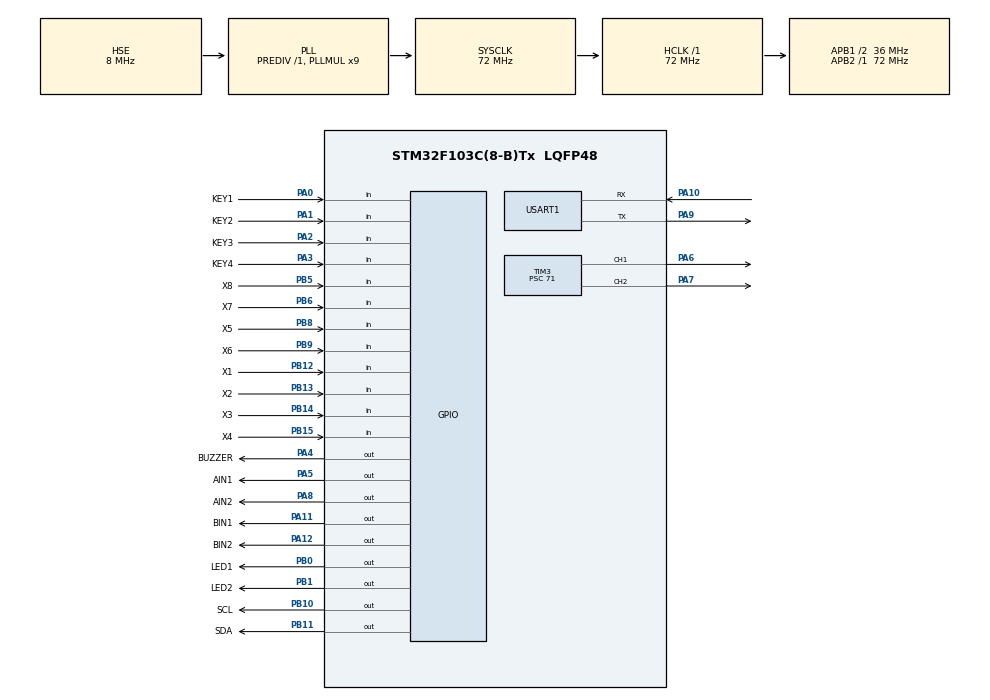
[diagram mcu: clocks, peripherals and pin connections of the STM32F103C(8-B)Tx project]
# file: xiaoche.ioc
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Mcu.Family=STM32F1
Mcu.Name=STM32F103C(8-B)Tx
Mcu.Package=LQFP48
NVIC.PriorityGroup=NVIC_PRIORITYGROUP_4
PA0-WKUP.GPIO_Label=KEY1
PA0-WKUP.GPIO_PuPd=GPIO_PULLUP
PA0-WKUP.Signal=GPIO_Input
PA1.GPIO_Label=KEY2
PA1.GPIO_PuPd=GPIO_PULLUP
PA1.Signal=GPIO_Input
PA10.Mode=Asynchronous
PA10.Signal=USART1_RX
PA11.GPIO_Label=BIN1
PA11.GPIO_ModeDefaultOutputPP=GPIO_MODE_OUTPUT_PP
PA11.GPIO_Speed=GPIO_SPEED_FREQ_LOW
PA11.PinState=GPIO_PIN_RESET
PA11.Signal=GPIO_Output
PA12.GPIO_Label=BIN2
PA12.GPIO_ModeDefaultOutputPP=GPIO_MODE_OUTPUT_PP
PA12.GPIO_Speed=GPIO_SPEED_FREQ_LOW
PA12.PinState=GPIO_PIN_RESET
PA12.Signal=GPIO_Output
PA2.GPIO_Label=KEY3
PA2.GPIO_PuPd=GPIO_PULLUP
PA2.Signal=GPIO_Input
PA3.GPIO_Label=KEY4
PA3.GPIO_PuPd=GPIO_PULLUP
PA3.Signal=GPIO_Input
PA4.GPIO_Label=BUZZER
PA4.GPIO_ModeDefaultOutputPP=GPIO_MODE_OUTPUT_PP
PA4.GPIO_Speed=GPIO_SPEED_FREQ_LOW
PA4.PinState=GPIO_PIN_RESET
PA4.Signal=GPIO_Output
PA5.GPIO_Label=AIN1
PA5.GPIO_ModeDefaultOutputPP=GPIO_MODE_OUTPUT_PP
PA5.GPIO_Speed=GPIO_SPEED_FREQ_LOW
PA5.PinState=GPIO_PIN_RESET
PA5.Signal=GPIO_Output
PA6.Signal=S_TIM3_CH1
PA7.Signal=S_TIM3_CH2
PA8.GPIO_Label=AIN2
PA8.GPIO_ModeDefaultOutputPP=GPIO_MODE_OUTPUT_PP
PA8.GPIO_Speed=GPIO_SPEED_FREQ_LOW
PA8.PinState=GPIO_PIN_RESET
PA8.Signal=GPIO_Output
PA9.Mode=Asynchronous
PA9.Signal=USART1_TX
PB0.GPIO_Label=LED1
PB0.GPIO_ModeDefaultOutputPP=GPIO_MODE_OUTPUT_PP
PB0.GPIO_Speed=GPIO_SPEED_FREQ_LOW
PB0.PinState=GPIO_PIN_RESET
PB0.Signal=GPIO_Output
PB1.GPIO_Label=LED2
PB1.GPIO_ModeDefaultOutputPP=GPIO_MODE_OUTPUT_PP
PB1.GPIO_Speed=GPIO_SPEED_FREQ_LOW
PB1.PinState=GPIO_PIN_RESET
PB1.Signal=GPIO_Output
PB10.GPIO_Label=SCL
PB10.GPIO_ModeDefaultOutputPP=GPIO_MODE_OUTPUT_PP
PB10.GPIO_Speed=GPIO_SPEED_FREQ_LOW
PB10.PinState=GPIO_PIN_SET
PB10.Signal=GPIO_Output
PB11.GPIO_Label=SDA
PB11.GPIO_ModeDefaultOutputPP=GPIO_MODE_OUTPUT_PP
PB11.GPIO_Speed=GPIO_SPEED_FREQ_LOW
PB11.PinState=GPIO_PIN_SET
PB11.Signal=GPIO_Output
PB12.GPIO_Label=X1
PB12.Signal=GPIO_Input
PB13.GPIO_Label=X2
PB13.Signal=GPIO_Input
PB14.GPIO_Label=X3
PB14.Signal=GPIO_Input
PB15.GPIO_Label=X4
PB15.Signal=GPIO_Input
PB5.GPIO_Label=X8
PB5.Signal=GPIO_Input
PB6.GPIO_Label=X7
PB6.Signal=GPIO_Input
PB8.GPIO_Label=X5
PB8.Signal=GPIO_Input
PB9.GPIO_Label=X6
PB9.Signal=GPIO_Input
PD0-OSC_IN.Mode=HSE-External-Oscillator
PD0-OSC_IN.Signal=RCC_OSC_IN
PD1-OSC_OUT.Mode=HSE-External-Oscillator
PD1-OSC_OUT.Signal=RCC_OSC_OUT
ProjectManager.HeapSize=0x200
ProjectManager.StackSize=0x400
ProjectManager.TargetToolchain=MDK-ARM V5.32
RCC.AHBFreq_Value=72000000
RCC.APB1CLKDivider=RCC_HCLK_DIV2
RCC.APB1Freq_Value=36000000
RCC.APB1TimFreq_Value=72000000
RCC.APB2CLKDivider=RCC_HCLK_DIV1
RCC.APB2Freq_Value=72000000
RCC.APB2TimFreq_Value=72000000
RCC.HCLKFreq_Value=72000000
RCC.HSEDivPLL=RCC_HSE_PREDIV_DIV1
RCC.HSE_VALUE=8000000
RCC.PLLMUL=RCC_PLL_MUL9
RCC.PLLSourceVirtual=RCC_PLLSOURCE_HSE
RCC.SYSCLKFreq_VALUE=72000000
RCC.SYSCLKSource=RCC_SYSCLKSOURCE_PLLCLK
RCC.USBFreq_Value=72000000
SH.S_TIM3_CH1.0=TIM3_CH1,PWM Generation1 CH1
SH.S_TIM3_CH2.0=TIM3_CH2,PWM Generation2 CH2
TIM3.Channel-PWM\ Generation1\ CH1=TIM_CHANNEL_1
TIM3.Channel-PWM\ Generation2\ CH2=TIM_CHANNEL_2
TIM3.Period=999
TIM3.Prescaler=71
USART1.VirtualMode=VM_ASYNC
VP_TIM3_VS_ClockSourceINT.Mode=Internal
board=custom

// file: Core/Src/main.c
/* USER CODE BEGIN Header */
/**
  ******************************************************************************
  * @file           : main.c
  * @brief          : Main program body
  ******************************************************************************
  * @attention
  *
  * Copyright (c) 2026 STMicroelectronics.
  * All rights reserved.
  *
  * This software is licensed under terms that can be found in the LICENSE file
  * in the root directory of this software component.
  * If no LICENSE file comes with this software, it is provided AS-IS.
  *
  ******************************************************************************
  */
/* USER CODE END Header */
#include "main.h"
#include "tim.h"
#include "usart.h"
#include "gpio.h"

/* USER CODE BEGIN Includes */
#include "oled.h"
#include <string.h>
/* USER CODE END Includes */

/* USER CODE BEGIN PV */
int a = 0;
int menu = 0;
int arrow = 0;
int led_mode = 0;
int led_on = 0;
unsigned int led_tick = 0;
char rxbuf[20];
int rxlen = 0;
int x[8];
int pian_cha = 0;
int shang_ci = 0;
int zhi_dao = 0;
int zhi_xing_ms = 0;
int huan_zuo_ms = 0;
int guo_du_ms = 0;
int diu_cnt = 0;
int bai_cnt = 0;
int fang_xiang = 0;
int zhong_lu = 0;
unsigned int huan_leng = 0;
int pao = 0;
unsigned int kai_shi = 0;
unsigned int shang_ci_fa = 0;
unsigned int shang_ci_shua = 0;
unsigned int shang_ci_kong = 0;
int tiaoshi = 1;
/* USER CODE END PV */

void SystemClock_Config(void);
/* USER CODE BEGIN PFP */
void SystemClock_Config(void);
int AnJian_Duqu(void);
void AnJian_Chuli(void);
void Zhucaidan_AnJian(int k);
void JianTou_Shang(void);
void JianTou_Xia(void);
void Jinru_Caidan(void);
void LED_AnJian(int k);
void LED_KaiGuan(void);
void Xianshi_Zhucaidan(void);
void Xianshi_LED(void);
void Xianshi_LEDZhuangtai(void);
void Xianshi_Xinxi(void);
void Xianshi_Tuozhan(void);
void LED_QuanLiang(void);
void LED_QuanMie(void);
void LED_Shanshuo(void);
void ChuanKou_Chuli(void);
void ChuanKou_Panduan(void);
void FaSong(char *s);
void FaSongShu(int n);
void FanZhuan_Fasong(char *s, int len, int f);
int ZhuanShuzi(char *s);
void Chuanganqi_Duqu(void);
int Piancha_Jisuan(void);
void Dianji_Zuo(int v);
void Dianji_You(int v);
void Dianji_Ting(void);
int QuanBai(void);
int YaLu_LuShu(void);
int Duanlu_Chuli(void);
int ZhiXing_Pao(void);
int Liubian_Chuli(void);
int Zhuanliang_Jisuan(int e);
int GuoDu_XianZhi(int zhuan);
int Sudu_Jisuan(int e);
void Jiquan_Chuli(void);
void Jilu_ZhongLu(void)
{
  if (YaLu_LuShu() == 0) { return; }
  if (x[2] == 1 || x[3] == 1 || x[4] == 1 || x[5] == 1) { zhong_lu = 1; }
  else { zhong_lu = 0; }
}

void DiuXian_Chuli(void)
{
  if (zhi_xing_ms > 0)
  {
    diu_cnt = 0;
    return;
  }
  if (QuanBai() == 1) { diu_cnt = diu_cnt + 1; }
  else { diu_cnt = 0; }
  if (diu_cnt > 100)
  {
    pao = 0;
    Dianji_Ting();
  }
}

void Jilu_ZhongLu(void);
void DiuXian_Chuli(void);
void Xunji_Run(void);
void Fengming(int ms);
void Xianshi_Chuanganqi(void);
void Xianshi_Xunji(void);
void Xianshi_Shuju(void);
void Tiaoshi_Fasong(void);
void Xunji_AnJian(int k);
/* USER CODE END PFP */

int main(void)
{

  /* MCU Configuration--------------------------------------------------------*/

  /* Reset of all peripherals, Initializes the Flash interface and the Systick. */
  HAL_Init();

  /* Configure the system clock */
  SystemClock_Config();

  /* Initialize all configured peripherals */
  MX_GPIO_Init();
  MX_TIM3_Init();
  MX_USART1_UART_Init();
  /* USER CODE BEGIN 2 */
  LED_QuanMie();
  HAL_GPIO_WritePin(GPIOA, GPIO_PIN_4, GPIO_PIN_RESET);
  HAL_TIM_PWM_Start(&htim3, TIM_CHANNEL_1);
  HAL_TIM_PWM_Start(&htim3, TIM_CHANNEL_2);
  Dianji_Ting();
  OLED_Init();
  kai_shi = HAL_GetTick();
  OLED_Clear();
  Xianshi_Zhucaidan();
  /* USER CODE END 2 */

  /* Infinite loop */
  while (1)
  {

    /* USER CODE BEGIN 3 */
    Chuanganqi_Duqu();
    ChuanKou_Chuli();
    AnJian_Chuli();
    LED_Shanshuo();
    if (pao == 1)
    {
      if (HAL_GetTick() - shang_ci_kong >= 10)
      {
        shang_ci_kong = HAL_GetTick();
        Xunji_Run();
      }
    }
    if (menu == 3 && pao == 0)
    {
      Xianshi_Shuju();
    }
    Tiaoshi_Fasong();
  }
  /* USER CODE END 3 */
}

void SystemClock_Config(void)
{
  RCC_OscInitTypeDef RCC_OscInitStruct = {0};
  RCC_ClkInitTypeDef RCC_ClkInitStruct = {0};

  /** Initializes the RCC Oscillators according to the specified parameters
  * in the RCC_OscInitTypeDef structure.
  */
  RCC_OscInitStruct.OscillatorType = RCC_OSCILLATORTYPE_HSE;
  RCC_OscInitStruct.HSEState = RCC_HSE_ON;
  RCC_OscInitStruct.HSEPredivValue = RCC_HSE_PREDIV_DIV1;
  RCC_OscInitStruct.HSIState = RCC_HSI_ON;
  RCC_OscInitStruct.PLL.PLLState = RCC_PLL_ON;
  RCC_OscInitStruct.PLL.PLLSource = RCC_PLLSOURCE_HSE;
  RCC_OscInitStruct.PLL.PLLMUL = RCC_PLL_MUL9;
  if (HAL_RCC_OscConfig(&RCC_OscInitStruct) != HAL_OK)
  {
    Error_Handler();
  }

  /** Initializes the CPU, AHB and APB buses clocks
  */
  RCC_ClkInitStruct.ClockType = RCC_CLOCKTYPE_HCLK|RCC_CLOCKTYPE_SYSCLK
                              |RCC_CLOCKTYPE_PCLK1|RCC_CLOCKTYPE_PCLK2;
  RCC_ClkInitStruct.SYSCLKSource = RCC_SYSCLKSOURCE_PLLCLK;
  RCC_ClkInitStruct.AHBCLKDivider = RCC_SYSCLK_DIV1;
  RCC_ClkInitStruct.APB1CLKDivider = RCC_HCLK_DIV2;
  RCC_ClkInitStruct.APB2CLKDivider = RCC_HCLK_DIV1;

  if (HAL_RCC_ClockConfig(&RCC_ClkInitStruct, FLASH_LATENCY_2) != HAL_OK)
  {
    Error_Handler();
  }
}

/* USER CODE BEGIN 4 */
int AnJian_Duqu(void)
{
  if (HAL_GPIO_ReadPin(GPIOA, GPIO_PIN_0) == 0) { HAL_Delay(20); while (HAL_GPIO_ReadPin(GPIOA, GPIO_PIN_0) == 0) { } return 1; }
  if (HAL_GPIO_ReadPin(GPIOA, GPIO_PIN_1) == 0) { HAL_Delay(20); while (HAL_GPIO_ReadPin(GPIOA, GPIO_PIN_1) == 0) { } return 2; }
  if (HAL_GPIO_ReadPin(GPIOA, GPIO_PIN_2) == 0) { HAL_Delay(20); while (HAL_GPIO_ReadPin(GPIOA, GPIO_PIN_2) == 0) { } return 3; }
  if (HAL_GPIO_ReadPin(GPIOA, GPIO_PIN_3) == 0) { HAL_Delay(20); while (HAL_GPIO_ReadPin(GPIOA, GPIO_PIN_3) == 0) { } return 4; }
  return 0;
}

void AnJian_Chuli(void)
{
  int k = AnJian_Duqu();

  if (k == 0) { return; }
  if (menu == 0) { Zhucaidan_AnJian(k); return; }
  if (menu == 1) { LED_AnJian(k); return; }
  if (menu == 3) { Xunji_AnJian(k); return; }
  if (k == 4)
  {
    menu = 0;
    Xianshi_Zhucaidan();
  }
}

void Zhucaidan_AnJian(int k)
{
  if (k == 1)
  {
    JianTou_Shang();
  }
  if (k == 2)
  {
    JianTou_Xia();
  }
  if (k == 3)
  {
    Jinru_Caidan();
  }
}

void JianTou_Shang(void)
{
  arrow = arrow - 1;
  if (arrow < 0)
  {
    arrow = 3;
  }
  Xianshi_Zhucaidan();
}

void JianTou_Xia(void)
{
  arrow = arrow + 1;
  if (arrow > 3)
  {
    arrow = 0;
  }
  Xianshi_Zhucaidan();
}

void Jinru_Caidan(void)
{
  if (arrow == 0) { menu = 1; Xianshi_LED(); }
  if (arrow == 1) { menu = 2; Xianshi_Xinxi(); }
  if (arrow == 2) { menu = 3; Xianshi_Xunji(); }
  if (arrow == 3) { menu = 4; Xianshi_Tuozhan(); }
}

void LED_AnJian(int k)
{
  if (k == 1)
  {
    LED_KaiGuan();
  }
  if (k == 2)
  {
    led_mode = 2;
    led_tick = HAL_GetTick();
    Xianshi_LED();
  }
  if (k == 4)
  {
    led_mode = 0;
    LED_QuanMie();
    menu = 0;
    Xianshi_Zhucaidan();
  }
}

void LED_KaiGuan(void)
{
  if (led_mode == 1)
  {
    led_mode = 0;
    LED_QuanMie();
  }
  else
  {
    led_mode = 1;
    LED_QuanLiang();
  }
  Xianshi_LED();
}

void LED_QuanLiang(void)
{
  HAL_GPIO_WritePin(GPIOB, GPIO_PIN_0, GPIO_PIN_SET);
  HAL_GPIO_WritePin(GPIOB, GPIO_PIN_1, GPIO_PIN_SET);
}

void LED_QuanMie(void)
{
  HAL_GPIO_WritePin(GPIOB, GPIO_PIN_0, GPIO_PIN_RESET);
  HAL_GPIO_WritePin(GPIOB, GPIO_PIN_1, GPIO_PIN_RESET);
}

void LED_Shanshuo(void)
{
  if (led_mode != 2) { return; }
  if (HAL_GetTick() - led_tick < 500) { return; }
  led_tick = HAL_GetTick();
  led_on = !led_on;
  if (led_on)
  {
    HAL_GPIO_WritePin(GPIOB, GPIO_PIN_0, GPIO_PIN_SET);
    HAL_GPIO_WritePin(GPIOB, GPIO_PIN_1, GPIO_PIN_RESET);
  }
  else
  {
    HAL_GPIO_WritePin(GPIOB, GPIO_PIN_0, GPIO_PIN_RESET);
    HAL_GPIO_WritePin(GPIOB, GPIO_PIN_1, GPIO_PIN_SET);
  }
  if (menu == 1)
  {
    Xianshi_LEDZhuangtai();
  }
}

void Xianshi_Zhucaidan(void)
{
  OLED_Clear();
  if (arrow == 0) { OLED_ShowChar(20, 0, '>'); }
  if (arrow == 1) { OLED_ShowChar(20, 2, '>'); }
  if (arrow == 2) { OLED_ShowChar(20, 4, '>'); }
  if (arrow == 3) { OLED_ShowChar(20, 6, '>'); }
  OLED_ShowString(40, 0, "LED");
  OLED_ShowString(40, 2, "XINXI");
  OLED_ShowString(40, 4, "XUNJI");
  OLED_ShowString(40, 6, "TUOZHAN");
}

void Xianshi_LEDZhuangtai(void)
{
  if (led_on)
  {
    OLED_ShowString(8, 2, "LED1: ON ");
    OLED_ShowString(8, 4, "LED2: OFF");
  }
  else
  {
    OLED_ShowString(8, 2, "LED1: OFF");
    OLED_ShowString(8, 4, "LED2: ON ");
  }
}

void Xianshi_LED(void)
{
  OLED_Clear();
  if (led_mode == 0) { OLED_ShowString(8, 0, "MODE: OFF"); }
  if (led_mode == 1) { OLED_ShowString(8, 0, "MODE: ON "); }
  if (led_mode == 2) { OLED_ShowString(8, 0, "MODE: FLASH"); }
  if (led_mode == 0)
  {
    OLED_ShowString(8, 2, "LED1: OFF");
    OLED_ShowString(8, 4, "LED2: OFF");
  }
  if (led_mode == 1)
  {
    OLED_ShowString(8, 2, "LED1: ON ");
    OLED_ShowString(8, 4, "LED2: ON ");
  }
  if (led_mode == 2)
  {
    Xianshi_LEDZhuangtai();
  }
  OLED_ShowString(8, 6, "K1:ON K2:FLASH");
}

void Xianshi_Xinxi(void)
{
  OLED_Clear();
  OLED_ShowString(8, 0, "NAME: FENG AO");
  OLED_ShowString(16, 2, "ID: 32602156");
  OLED_ShowString(20, 4, "A = ");
  OLED_ShowNum(52, 4, a, 4, 16);
  OLED_ShowString(32, 6, "K4: BACK");
}

void Xianshi_Tuozhan(void)
{
  OLED_Clear();
  OLED_ShowString(36, 0, "TUOZHAN");
  OLED_ShowString(20, 2, "COMING SOON");
  OLED_ShowString(32, 6, "K4: BACK");
}

void ChuanKou_Chuli(void)
{
  char c;

  if (HAL_UART_Receive(&huart1, (uint8_t *)&c, 1, 0) != HAL_OK)
  {
    return;
  }
  if (c == '\r' || c == '\n')
  {
    if (rxlen > 0)
    {
      rxbuf[rxlen] = 0;
      ChuanKou_Panduan();
      rxlen = 0;
    }
    return;
  }
  if (rxlen < 19)
  {
    rxbuf[rxlen] = c;
    rxlen = rxlen + 1;
  }
}

void ChuanKou_Panduan(void)
{
  if (strcmp(rxbuf, "GET A") == 0)
  {
    FaSongShu(a);
    return;
  }
  a = ZhuanShuzi(rxbuf);
  if (menu == 2)
  {
    Xianshi_Xinxi();
  }
}

void FaSong(char *s)
{
  HAL_UART_Transmit(&huart1, (uint8_t *)s, strlen(s), 50);
}

void FaSongShu(int n)
{
  char s[12];
  int i = 0;
  int f = 0;

  if (n < 0)
  {
    f = 1;
    n = -n;
  }
  if (n == 0)
  {
    s[i] = '0';
    i = i + 1;
  }
  while (n > 0)
  {
    s[i] = '0' + n % 10;
    i = i + 1;
    n = n / 10;
  }
  FanZhuan_Fasong(s, i, f);
}

void FanZhuan_Fasong(char *s, int len, int f)
{
  char out[14];
  int j = 0;

  if (f == 1)
  {
    out[j] = '-';
    j = j + 1;
  }
  while (len > 0)
  {
    len = len - 1;
    out[j] = s[len];
    j = j + 1;
  }
  out[j] = '\r';
  out[j + 1] = '\n';
  out[j + 2] = 0;
  FaSong(out);
}

int ZhuanShuzi(char *s)
{
  int i = 0;
  int f = 1;
  int n = 0;

  if (s[0] == '-')
  {
    f = -1;
    i = 1;
  }
  while (s[i] >= '0' && s[i] <= '9')
  {
    n = n * 10 + (s[i] - '0');
    i = i + 1;
  }
  return n * f;
}

void Chuanganqi_Duqu(void)
{
  if (HAL_GPIO_ReadPin(GPIOB, GPIO_PIN_12) == 0) { x[0] = 1; } else { x[0] = 0; }
  if (HAL_GPIO_ReadPin(GPIOB, GPIO_PIN_13) == 0) { x[1] = 1; } else { x[1] = 0; }
  if (HAL_GPIO_ReadPin(GPIOB, GPIO_PIN_14) == 0) { x[2] = 1; } else { x[2] = 0; }
  if (HAL_GPIO_ReadPin(GPIOB, GPIO_PIN_15) == 0) { x[3] = 1; } else { x[3] = 0; }
  if (HAL_GPIO_ReadPin(GPIOB, GPIO_PIN_8) == 0) { x[4] = 1; } else { x[4] = 0; }
  if (HAL_GPIO_ReadPin(GPIOB, GPIO_PIN_9) == 0) { x[5] = 1; } else { x[5] = 0; }
  if (HAL_GPIO_ReadPin(GPIOB, GPIO_PIN_6) == 0) { x[6] = 1; } else { x[6] = 0; }
  if (HAL_GPIO_ReadPin(GPIOB, GPIO_PIN_5) == 0) { x[7] = 1; } else { x[7] = 0; }
}

int Piancha_Jisuan(void)
{
  int i;
  int n = 0;
  int he = 0;

  for (i = 0; i < 8; i++)
  {
    if (x[i] == 1)
    {
      he = he + (i * 2 - 7);
      n = n + 1;
    }
  }
  if (n == 0)
  {
    if (fang_xiang > 0) { return 700; }
    if (fang_xiang < 0) { return -700; }
    return pian_cha;
  }
  pian_cha = he * 100 / n;
  if (pian_cha > 300) { fang_xiang = 1; }
  if (pian_cha < -300) { fang_xiang = -1; }
  return pian_cha;
}

void Dianji_Zuo(int v)
{
  if (v >= 0)
  {
    HAL_GPIO_WritePin(GPIOA, GPIO_PIN_5, GPIO_PIN_SET);
    HAL_GPIO_WritePin(GPIOA, GPIO_PIN_8, GPIO_PIN_RESET);
  }
  else
  {
    HAL_GPIO_WritePin(GPIOA, GPIO_PIN_5, GPIO_PIN_RESET);
    HAL_GPIO_WritePin(GPIOA, GPIO_PIN_8, GPIO_PIN_SET);
  }
  if (v < 0) { v = -v; }
  if (v > 999) { v = 999; }
  __HAL_TIM_SET_COMPARE(&htim3, TIM_CHANNEL_1, v);
}

void Dianji_You(int v)
{
  if (v >= 0)
  {
    HAL_GPIO_WritePin(GPIOA, GPIO_PIN_11, GPIO_PIN_SET);
    HAL_GPIO_WritePin(GPIOA, GPIO_PIN_12, GPIO_PIN_RESET);
  }
  else
  {
    HAL_GPIO_WritePin(GPIOA, GPIO_PIN_11, GPIO_PIN_RESET);
    HAL_GPIO_WritePin(GPIOA, GPIO_PIN_12, GPIO_PIN_SET);
  }
  if (v < 0) { v = -v; }
  if (v > 999) { v = 999; }
  __HAL_TIM_SET_COMPARE(&htim3, TIM_CHANNEL_2, v);
}

void Dianji_Ting(void)
{
  Dianji_Zuo(0);
  Dianji_You(0);
}

int QuanBai(void)
{
  int i;

  for (i = 0; i < 8; i++)
  {
    if (x[i] == 1) { return 0; }
  }
  return 1;
}

int YaLu_LuShu(void)
{
  int i;
  int n = 0;

  for (i = 0; i < 8; i++)
  {
    if (x[i] == 1) { n = n + 1; }
  }
  return n;
}

int Duanlu_Chuli(void)
{
  if (zhi_xing_ms > 0) { return ZhiXing_Pao(); }
  if (QuanBai() == 1) { bai_cnt = bai_cnt + 1; }
  else { bai_cnt = 0; }
  if (bai_cnt >= 2 && zhi_dao > 30 && zhong_lu == 1)
  {
    zhi_xing_ms = 1500;
  }
  return 0;
}

int ZhiXing_Pao(void)
{
  if (QuanBai() == 0)
  {
    zhi_xing_ms = 0;
    guo_du_ms = 250;
    return 0;
  }
  zhi_xing_ms = zhi_xing_ms - 10;
  if (zhi_xing_ms <= 0)
  {
    pao = 0;
    Dianji_Ting();
    return 1;
  }
  Dianji_Zuo(380);
  Dianji_You(380);
  return 1;
}

int Liubian_Chuli(void)
{
  int zuo;
  int you;
  int zhong;

  if (huan_zuo_ms > 0)
  {
    huan_zuo_ms = huan_zuo_ms - 10;
    Dianji_Zuo(150);
    Dianji_You(750);
    return 1;
  }
  if (HAL_GetTick() - huan_leng < 25000) { return 0; }
  zuo = x[0] + x[1] + x[2];
  you = x[5] + x[6] + x[7];
  zhong = x[2] + x[3] + x[4];
  if (zuo > 0 && you > 0 && zhong == 0)
  {
    huan_zuo_ms = 300;
    huan_leng = HAL_GetTick();
  }
  return 0;
}

int Zhuanliang_Jisuan(int e)
{
  int zhuan = (e * 110 + (e - shang_ci) * 160) / 100;

  if (e > 250 || e < -250) { zhuan = zhuan * 18 / 10; }
  else if (e > 120 || e < -120) { zhuan = zhuan * 12 / 10; }
  if (zhuan > 900) { zhuan = 900; }
  if (zhuan < -900) { zhuan = -900; }
  return zhuan;
}

int GuoDu_XianZhi(int zhuan)
{
  if (guo_du_ms <= 0) { return zhuan; }
  guo_du_ms = guo_du_ms - 10;
  if (zhuan > 350) { zhuan = 350; }
  if (zhuan < -350) { zhuan = -350; }
  return zhuan;
}

int Sudu_Jisuan(int e)
{
  int sudu = e;

  if (sudu < 0) { sudu = -sudu; }
  sudu = 260 - sudu / 4;
  if (sudu < 200) { sudu = 200; }
  return sudu;
}

void Jiquan_Chuli(void)
{
  unsigned int t = HAL_GetTick() - kai_shi;

  if (t > 204700)
  {
    pao = 0;
    Dianji_Ting();
    return;
  }
  if (t < 169100) { return; }
  if (t > 190460) { return; }
  if (YaLu_LuShu() < 7) { return; }
  pao = 0;
  Dianji_Ting();
  Fengming(200);
}

void Xunji_Run(void)
{
  int e;
  int zhuan;
  int sudu;

  if (Duanlu_Chuli() == 1) { return; }
  if (Liubian_Chuli() == 1) { return; }

  e = Piancha_Jisuan();
  zhuan = GuoDu_XianZhi(Zhuanliang_Jisuan(e));
  sudu = Sudu_Jisuan(e);
  Dianji_Zuo(sudu + zhuan);
  Dianji_You(sudu - zhuan);
  shang_ci = e;

  Jilu_ZhongLu();
  if (YaLu_LuShu() == 0) { }
  else if (e < 250 && e > -250 && YaLu_LuShu() <= 2) { zhi_dao = zhi_dao + 1; }
  else { zhi_dao = 0; }

  DiuXian_Chuli();
  Jiquan_Chuli();
}

void Fengming(int ms)
{
  HAL_GPIO_WritePin(GPIOA, GPIO_PIN_4, GPIO_PIN_SET);
  HAL_Delay(ms);
  HAL_GPIO_WritePin(GPIOA, GPIO_PIN_4, GPIO_PIN_RESET);
}

void Xianshi_Chuanganqi(void)
{
  int i;
  int p;

  for (i = 0; i < 8; i++)
  {
    p = 32 + i * 8;
    if (x[i] == 1) { OLED_ShowString(p, 0, "1"); }
    else { OLED_ShowString(p, 0, "0"); }
  }
}

void Xianshi_Xunji(void)
{
  OLED_Clear();
  Xianshi_Chuanganqi();
  OLED_ShowString(0, 2, "TING");
  OLED_ShowString(0, 4, "T=");
  OLED_ShowString(0, 6, "K3:GO K4:BACK");
}

void Xianshi_Shuju(void)
{
  if (HAL_GetTick() - shang_ci_shua < 200) { return; }
  shang_ci_shua = HAL_GetTick();
  Xianshi_Chuanganqi();
  if (pao == 1) { OLED_ShowString(0, 2, "PAO "); }
  else { OLED_ShowString(0, 2, "TING"); }
  OLED_ShowString(24, 4, "     ");
  OLED_ShowNum(24, 4, (HAL_GetTick() - kai_shi) / 1000, 3, 16);
}

void Tiaoshi_Fasong(void)
{
  char s[10];
  int i;

  if (tiaoshi == 0) { return; }
  if (HAL_GetTick() - shang_ci_fa < 100) { return; }
  shang_ci_fa = HAL_GetTick();
  for (i = 0; i < 8; i++)
  {
    if (x[i] == 1) { s[i] = '1'; }
    else { s[i] = '0'; }
  }
  s[8] = ' ';
  s[9] = 0;
  FaSong(s);
  FaSongShu(pian_cha);
}

void Xunji_AnJian(int k)
{
  if (k == 3)
  {
    kai_shi = HAL_GetTick();
    shang_ci = 0;
    zhi_dao = 0;
    zhi_xing_ms = 0;
    huan_zuo_ms = 0;
    guo_du_ms = 0;
    diu_cnt = 0;
    bai_cnt = 0;
    fang_xiang = 0;
    zhong_lu = 0;
    huan_leng = HAL_GetTick() - 25000;
    pao = 1;
    Fengming(200);
  }
  if (k == 4)
  {
    pao = 0;
    Dianji_Ting();
    menu = 0;
    Xianshi_Zhucaidan();
  }
}
/* USER CODE END 4 */

void Error_Handler(void)
{
  __disable_irq();
  while (1)
  {
  }
}
